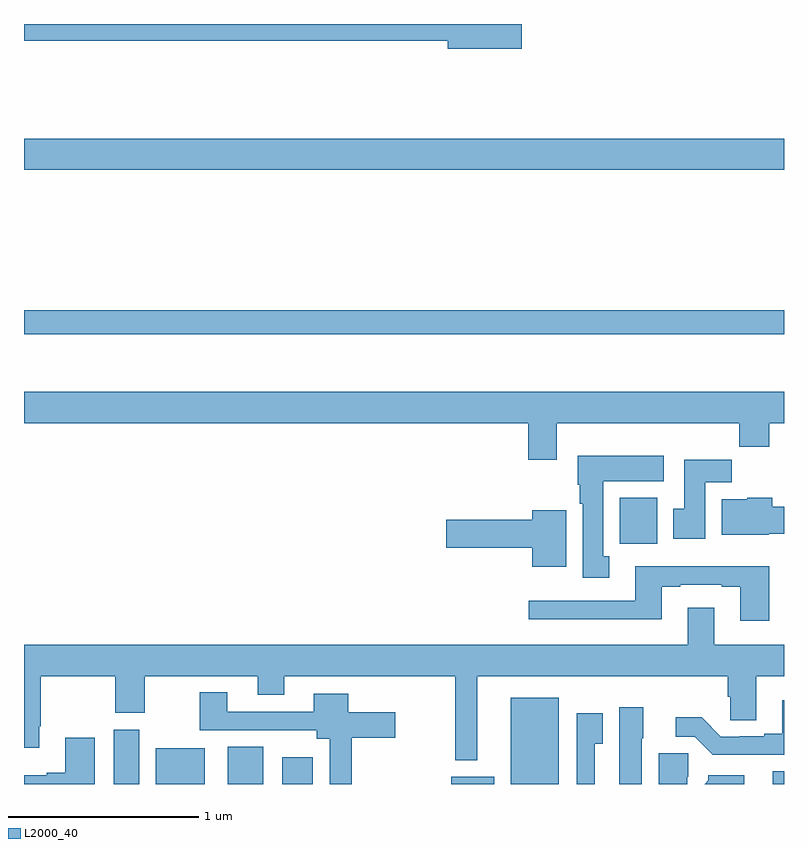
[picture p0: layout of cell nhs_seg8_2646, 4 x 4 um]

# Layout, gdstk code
import gdstk
lib = gdstk.Library(unit=1e-6, precision=1e-09)
def R(c, l, rs):  # rectangles x0, y0, x1, y1
    for r in rs: c.add(gdstk.rectangle(r[:2], r[2:], *l))
def P(c, l, *ps):  # polygons
    for p in ps: c.add(gdstk.Polygon(p, *l))
L2000_40 = (2000, 40)

nhs_seg8_2646 = lib.new_cell('nhs_seg8_2646')
R(nhs_seg8_2646, L2000_40, [(277.472,1147.9,277.606,1148.185), (277.694,1147.9,277.951,1148.089), (278.072,1147.9,278.26,1148.095), (278.36,1147.9,278.521,1148.041), (279.248,1147.9,279.475,1147.939), (279.563,1147.9,279.814,1148.353), (280.94,1147.9,281,1147.966), (280.136,1149.164,280.333,1149.406), (277,1150.266,281,1150.394), (277,1151.132,281,1151.296)])
P(nhs_seg8_2646, L2000_40, [(279.619,1151.9),(277,1151.9),(277,1151.812),(279.23,1151.812),(279.23,1151.77),(279.619,1151.77)],
  [(279.805,1149.8),(280.765,1149.8),(280.765,1149.676),(280.922,1149.676),(280.922,1149.8),(281,1149.8),(281,1149.964),(277,1149.964),(277,1149.8),(279.653,1149.8),(279.653,1149.606),(279.805,1149.606)],
  [(280.081,1149.098),(280.048,1149.098),(280.048,1149.494),(280.366,1149.494),(280.366,1149.628),(279.914,1149.628),(279.914,1149.474),(279.926,1149.474),(279.926,1149.374),(279.941,1149.374),(279.941,1148.985),(280.081,1148.985)],
  [(280.585,1149.488),(280.724,1149.488),(280.724,1149.607),(280.475,1149.607),(280.475,1149.348),(280.418,1149.348),(280.418,1149.192),(280.585,1149.192)],
  [(280.92,1149.218),(281,1149.218),(281,1149.36),(280.937,1149.36),(280.937,1149.406),(280.806,1149.406),(280.806,1149.4),(280.673,1149.4),(280.673,1149.212),(280.92,1149.212)],
  [(279.853,1149.34),(279.674,1149.34),(279.674,1149.29),(279.222,1149.29),(279.222,1149.143),(279.674,1149.143),(279.674,1149.044),(279.853,1149.044)],
  [(280.922,1149.046),(280.217,1149.046),(280.217,1148.865),(279.657,1148.865),(279.657,1148.768),(280.357,1148.768),(280.357,1148.937),(280.453,1148.937),(280.453,1148.949),(280.673,1148.949),(280.673,1148.937),(280.769,1148.937),(280.769,1148.76),(280.922,1148.76)],
  [(279.385,1148.468),(280.703,1148.468),(280.703,1148.358),(280.716,1148.358),(280.716,1148.236),(280.855,1148.236),(280.855,1148.468),(281,1148.468),(281,1148.632),(280.633,1148.632),(280.633,1148.827),(280.493,1148.827),(280.493,1148.632),(277,1148.632),(277,1148.091),(277.081,1148.091),(277.081,1148.203),(277.089,1148.203),(277.089,1148.468),(277.48,1148.468),(277.48,1148.274),(277.635,1148.274),(277.635,1148.468),(278.231,1148.468),(278.231,1148.369),(278.371,1148.369),(278.371,1148.468),(279.271,1148.468),(279.271,1148.024),(279.385,1148.024)],
  [(278.726,1148.144),(278.953,1148.144),(278.953,1148.278),(278.707,1148.278),(278.707,1148.374),(278.525,1148.374),(278.525,1148.28),(278.071,1148.28),(278.071,1148.383),(277.924,1148.383),(277.924,1148.184),(278.54,1148.184),(278.54,1148.138),(278.61,1148.138),(278.61,1147.9),(278.726,1147.9)],
  [(281,1148.341),(280.991,1148.341),(280.991,1148.164),(280.895,1148.164),(280.895,1148.151),(280.768,1148.151),(280.768,1148.148),(280.668,1148.148),(280.566,1148.251),(280.431,1148.251),(280.431,1148.148),(280.53,1148.148),(280.624,1148.054),(281,1148.054)],
  [(280.252,1148.142),(280.258,1148.142),(280.258,1148.305),(280.133,1148.305),(280.133,1147.9),(280.252,1147.9)],
  [(280.005,1148.111),(280.045,1148.111),(280.045,1148.272),(279.909,1148.272),(279.909,1147.9),(280.005,1147.9)],
  [(277.372,1148.143),(277.217,1148.143),(277.217,1147.958),(277.121,1147.958),(277.121,1147.945),(277,1147.945),(277,1147.9),(277.372,1147.9)],
  [(280.492,1147.938),(280.496,1147.938),(280.496,1148.061),(280.34,1148.061),(280.34,1147.9),(280.492,1147.9)],
  [(280.792,1147.945),(280.602,1147.945),(280.602,1147.92),(280.582,1147.9),(280.792,1147.9)])

lib.write_gds('nhs_seg8_2646.gds')
